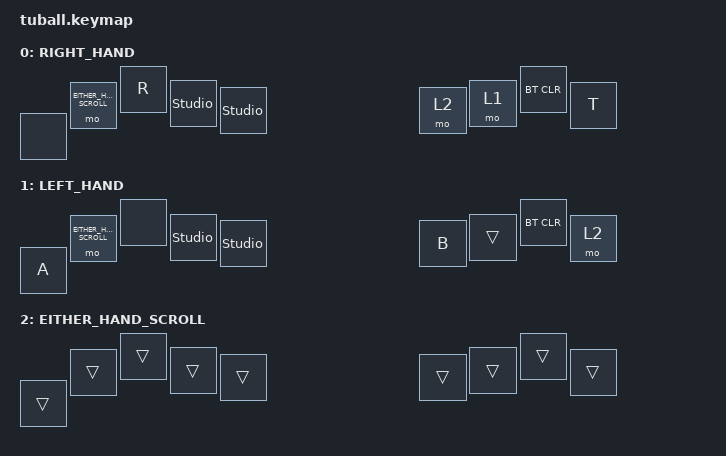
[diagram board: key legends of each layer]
/*
    No chosen zmk,matrix-transform here if using ZMK stuidio.
    https://zmk.dev/docs/features/studio#adding-zmk-studio-support-to-a-keyboard

    Put trackball listener here and place input-processors inside!
*/

#include <input/processors.dtsi>
#include <dt-bindings/zmk/mouse.h>
#include <dt-bindings/zmk/input_transform.h>
#include <zephyr/dt-bindings/input/input-event-codes.h>
#include <behaviors.dtsi>
#include <dt-bindings/zmk/bt.h>
#include <dt-bindings/zmk/keys.h>
#include <dt-bindings/zmk/pointing.h>

// keep all behavior settings for zmk studio
#define ZMK_BEHAVIORS_OMIT_KT

// layers


#define RIGHT_HAND 0
#define LEFT_HAND 1
#define EITHER_HAND_SCROLL 2

// Mouse speed increased
#define ZMK_POINTING_DEFAULT_MOVE_VAL 1000  // default: 600
#define ZMK_POINTING_DEFAULT_SCRL_VAL 15    // default: 10
//#include <dt-bindings/zmk/pointing.h>

// #define LEFT_HAND     	0
// #define RIGHT_HAND     	1
// #define EITHER_HAND_SCROLL	2

/ {
    keymap {
        compatible = "zmk,keymap";
// Map is not exactly a 3x3 matrix, close enough to treat it like that:
//         map = <
// Row 0:
//	               RC(0,0) RC(0,1) RC(0,2) 
// Row 1:
//                   RC(0,6)                 RC(0,5) 
//
//                                             RC(0,3) 
//
// Row 2:
//                              RC(0,7) RC(0,8)   
//
//					       RC(0,4)       
//        >;
// &mkp LCLK &mkp MCLK &mkp RCLK  &none
        RIGHT_HAND {
            bindings = <
                       &none &mo EITHER_HAND_SCROLL          &kp R
                  &studio_unlock                          &studio_unlock
                                                    &mo 2
                		&mo 1 &bt BT_CLR
						    &kp T 
            >;
        };

	// Left hand layer swaps the left and right buttons, and indicates to trakball_listener that it should swap X and Y axis (from those set by default.)
        LEFT_HAND {
            bindings = <
                       &kp A &mo EITHER_HAND_SCROLL &none
                  &studio_unlock                          &studio_unlock
                                                    &kp B
                		&trans &bt BT_CLR
						    &mo 2 
            >;
        };

	// Scroll layers do nothing by themselves, but indicate to trackball_listener that it should apply the appropriate transformation, i.e. switch to scrolling instead of pointing.
	// For that reason it is completely transparent.
        EITHER_HAND_SCROLL {
            bindings = <
		&trans	&trans	&trans
		&trans	&trans	&trans
		&trans	&trans	&trans
            >;
        };

        _EXTRA1 { status = "reserved"; };
        _EXTRA2 { status = "reserved"; };
        _EXTRA3 { status = "reserved"; };
        _EXTRA4 { status = "reserved"; };
        _EXTRA5 { status = "reserved"; };
        _EXTRA6 { status = "reserved"; };
        _EXTRA7 { status = "reserved"; };

    };

};
